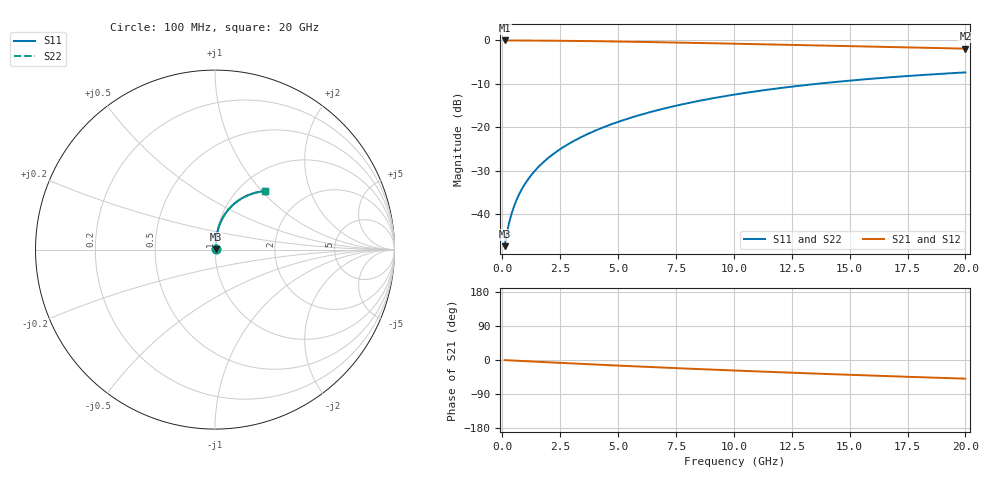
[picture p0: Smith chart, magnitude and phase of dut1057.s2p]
! Touchstone file exported from HFSS 2024.1.0
!  File:  C:/UserFiles/LocalFiles/RDL_TSV_Batchsim/temp_RDL_top_1057_1780044713.aedt
!  Generated:  04:54:24 PM May 29, 2026
!  Design:  RDL_top
!  Project:  temp_RDL_top_1057_1780044713
!  Setup:  Setup1
!  Solution:  Sweep
! Variables:
!  dtsv = 10.80580581um
!  hbump = 3um
!  htsv = 86.67um
!  ldown = 100um
!  lrdl = 679.57um
!  p = 40
!  p1 = 57.31um
!  rhole = 1um
!  t = 450um
!  tdown = 3.915915916um
!  trdl = 3.06um
!  wdown = 15.38538539um
!  wrdl = 23.67um
# GHz S MA R 50.000000
! Terminal data exported
! Port[1] = Box2_T1
! Port[2] = Box2_T2
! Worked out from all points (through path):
!   200 points, 100 MHz to 20 GHz, reference 50 ohm
!   highest |S21| = -0.03 dB at 100 MHz (marker M1); lowest = -1.9 dB at 20 GHz (marker M2)
!   group delay of S21, straight-line fit = 6.79 ps
!   lowest |S11| = -47.3 dB at 100 MHz (marker M3), VSWR 1.01, Z = 50.4 + j0.246 ohm
!   |S11| at or under -10 dB: start of sweep to 13.59 GHz
!   |S22| runs from -47.3 to -7.4 dB; largest |S21 - S12| = 8.4e-15
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0.1  0.004311 34.5  0.9964 -0.3  0.9964 -0.3  0.004311 34.5
! Gamma 0 0 0 0
! Port Impedance 50 0 50 0
0.2  0.006079 52.4  0.9962 -0.6  0.9962 -0.6  0.006079 52.4
0.3  0.008095 61.2  0.996 -0.9  0.996 -0.9  0.008095 61.2
0.4  0.01016 66.3  0.9958 -1.3  0.9958 -1.3  0.01016 66.3
0.5  0.01224 69.8  0.9955 -1.6  0.9955 -1.6  0.01224 69.8
0.6  0.01433 72.3  0.9953 -1.9  0.9953 -1.9  0.01433 72.3
0.8  0.01856 75.7  0.9948 -2.5  0.9948 -2.5  0.01856 75.7
1.1  0.02499 78.8  0.994 -3.4  0.994 -3.4  0.02499 78.8
1.3  0.02934 80.1  0.9934 -4.0  0.9934 -4.0  0.02934 80.1
1.6  0.03593 81.3  0.9923 -4.9  0.9923 -4.9  0.03593 81.3
2.1  0.04709 82.5  0.9901 -6.4  0.9901 -6.4  0.04709 82.5
2.7  0.06076 83.0  0.9868 -8.2  0.9868 -8.2  0.06076 83.0
3.5  0.07941 82.9  0.9814 -10.5  0.9814 -10.5  0.07941 82.9
4.2  0.0961 82.3  0.9758 -12.5  0.9758 -12.5  0.0961 82.3
5  0.1155 81.3  0.9687 -14.8  0.9687 -14.8  0.1155 81.3
6.8  0.1599 78.2  0.9507 -19.6  0.9507 -19.6  0.1599 78.2
8.4  0.1992 74.8  0.9333 -23.7  0.9333 -23.7  0.1992 74.8
10.1  0.2397 71.0  0.914 -27.9  0.914 -27.9  0.2397 71.0
11.7  0.2761 67.3  0.8955 -31.7  0.8955 -31.7  0.2761 67.3
13.4  0.3124 63.4  0.8758 -35.6  0.8758 -35.6  0.3124 63.4
16.7  0.3752 56.2  0.8382 -42.7  0.8382 -42.7  0.3752 56.2
20  0.4279 49.6  0.8023 -49.2  0.8023 -49.2  0.4278 49.6
